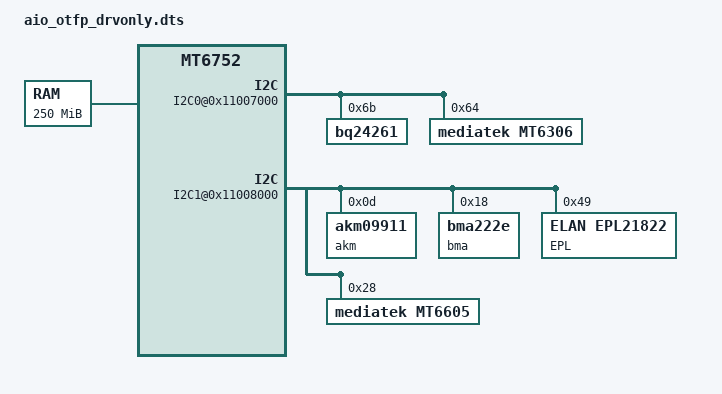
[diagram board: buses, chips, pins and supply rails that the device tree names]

/dts-v1/;

/include/ "mt6752.dtsi"

/ {
	memory@00000000 {
		device_type = "memory";
		reg = <0 0x40000000 0 0xFA00000>;
	};

	bus {
		compatible = "simple-bus";
		#address-cells = <1>;
		#size-cells = <1>;
		ranges = <0 0 0 0xffffffff>;

		I2C0@0x11007000 {
			bq24261@6b {
				compatible = "bq24261";
				reg = <0x6b>;
			};

			mt6306@64 {
				compatible = "mediatek,mt6306";
				reg = <0x64>;
			};
		};

		I2C1@0x11008000 {
			akm@0d {
				compatible = "akm09911";
				reg = <0x0d>;
			};
			
			bma@18 {
				compatible = "bma222e";
				reg = <0x18>;
			};
			
			EPL@49 {
				compatible = "ELAN,EPL21822";
				reg = <0x49>;
			};
			
			mt6605@28 {
				compatible = "mediatek,mt6605";
				reg = <0x28>;
			};
		};

	};

    TOUCH@0 {
    	compatible = "mediatek,TPD";
		eint-gpio = <139 1>;
		rst-gpio = <144 1>;
		interrupts = <139 2>;
    };	
};
